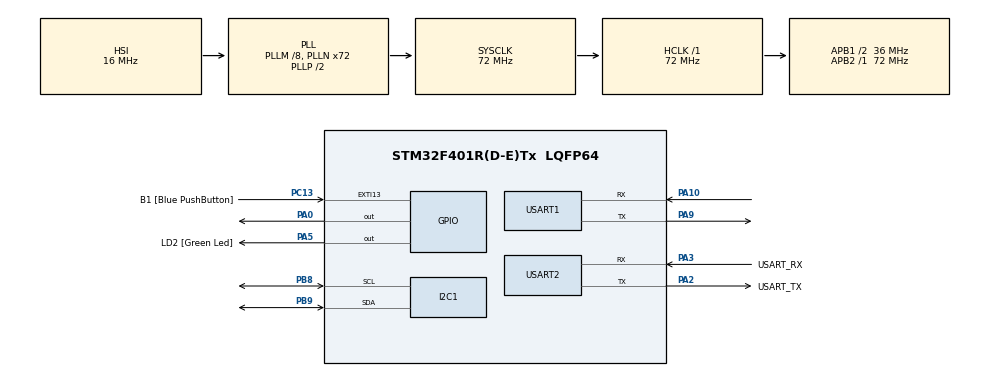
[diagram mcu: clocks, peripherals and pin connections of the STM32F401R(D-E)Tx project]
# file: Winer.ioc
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Mcu.Family=STM32F4
Mcu.Name=STM32F401R(D-E)Tx
Mcu.Package=LQFP64
NVIC.PriorityGroup=NVIC_PRIORITYGROUP_0
PA0-WKUP.GPIO_PuPd=GPIO_PULLUP
PA0-WKUP.Signal=GPIO_Output
PA10.Mode=Asynchronous
PA10.Signal=USART1_RX
PA13.GPIO_Label=TMS
PA13.Mode=Serial_Wire
PA13.Signal=SYS_JTMS-SWDIO
PA14.GPIO_Label=TCK
PA14.Mode=Serial_Wire
PA14.Signal=SYS_JTCK-SWCLK
PA2.GPIO_Label=USART_TX
PA2.GPIO_Mode=GPIO_MODE_AF_PP
PA2.GPIO_PuPd=GPIO_NOPULL
PA2.GPIO_Speed=GPIO_SPEED_FREQ_LOW
PA2.Mode=Asynchronous
PA2.Signal=USART2_TX
PA3.GPIO_Label=USART_RX
PA3.GPIO_Mode=GPIO_MODE_AF_PP
PA3.GPIO_PuPd=GPIO_NOPULL
PA3.GPIO_Speed=GPIO_SPEED_FREQ_LOW
PA3.Mode=Asynchronous
PA3.Signal=USART2_RX
PA5.GPIO_Label=LD2 [Green Led]
PA5.GPIO_Mode=GPIO_MODE_OUTPUT_PP
PA5.GPIO_PuPd=GPIO_NOPULL
PA5.GPIO_Speed=GPIO_SPEED_FREQ_LOW
PA5.Signal=GPIO_Output
PA9.Mode=Asynchronous
PA9.Signal=USART1_TX
PB3.GPIO_Label=SWO
PB3.Signal=SYS_JTDO-SWO
PB8.GPIO_Pu=GPIO_PULLUP
PB8.Mode=I2C
PB8.Signal=I2C1_SCL
PB9.GPIO_Pu=GPIO_PULLUP
PB9.Mode=I2C
PB9.Signal=I2C1_SDA
PC13-ANTI_TAMP.GPIO_Label=B1 [Blue PushButton]
PC13-ANTI_TAMP.GPIO_ModeDefaultEXTI=GPIO_MODE_IT_FALLING
PC13-ANTI_TAMP.GPIO_PuPd=GPIO_NOPULL
PC13-ANTI_TAMP.Signal=GPXTI13
PC14-OSC32_IN.Mode=LSE-External-Oscillator
PC14-OSC32_IN.Signal=RCC_OSC32_IN
PC15-OSC32_OUT.Mode=LSE-External-Oscillator
PC15-OSC32_OUT.Signal=RCC_OSC32_OUT
PH0\ -\ OSC_IN.Mode=HSE-External-Clock-Source
PH0\ -\ OSC_IN.Signal=RCC_OSC_IN
PH1\ -\ OSC_OUT.Mode=HSE-External-Clock-Source
PH1\ -\ OSC_OUT.Signal=RCC_OSC_OUT
ProjectManager.HeapSize=0x200
ProjectManager.StackSize=0x400
ProjectManager.TargetToolchain=STM32CubeIDE
RCC.48MHZClocksFreq_Value=20571428.57142857
RCC.AHBFreq_Value=72000000
RCC.APB1CLKDivider=RCC_HCLK_DIV2
RCC.APB1Freq_Value=36000000
RCC.APB1TimFreq_Value=72000000
RCC.APB2Freq_Value=72000000
RCC.APB2TimFreq_Value=72000000
RCC.CortexFreq_Value=72000000
RCC.HCLKFreq_Value=72000000
RCC.HSE_VALUE=8000000
RCC.HSI_VALUE=16000000
RCC.PLLM=8
RCC.PLLN=72
RCC.PLLQ=7
RCC.SYSCLKFreq_VALUE=72000000
RCC.SYSCLKSource=RCC_SYSCLKSOURCE_PLLCLK
RCC.VCOOutputFreq_Value=144000000
TIM1.Prescaler=72-1
USART1.VirtualMode=VM_ASYNC
USART2.VirtualMode=VM_ASYNC
VP_TIM1_VS_ClockSourceINT.Mode=Internal
board=NUCLEO-F401RE

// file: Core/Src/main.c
/* USER CODE BEGIN Header */
/**
  ******************************************************************************
  * @file           : main.c
  * @brief          : Main program body
  ******************************************************************************
  * @attention
  *
  * Copyright (c) 2023 STMicroelectronics.
  * All rights reserved.
  *
  * This software is licensed under terms that can be found in the LICENSE file
  * in the root directory of this software component.
  * If no LICENSE file comes with this software, it is provided AS-IS.
  *
  ******************************************************************************
  */
/* USER CODE END Header */
#include "main.h"

/* USER CODE BEGIN Includes */
#include <string.h>
#include "stm32f4xx_hal.h"
#include <stdio.h>
#include <math.h>
/* USER CODE END Includes */

/* USER CODE BEGIN PD */
// Indirizzo I2C del sensore ISL29125
// Indirizzo I2C del sensore ISL29125
#define ISL29125_ADDR 0x44

// Indirizzi dei registri di interesse (ad es. potresti aver bisogno di altri registri in base alle tue necessità)
#define DEVICE_ID_REG 0x00
#define GREEN_DATA_REG_LOW_BYTE 0X09
#define GREEN_DATA_REG_HIGH_BYTE 0X0A
#define RED_DATA_REG_LOW_BYTE 0X0B
#define RED_DATA_REG_HIGH_BYTE 0X0C
#define BLUE_DATA_REG_LOW_BYTE 0X0D
#define BLUE_DATA_REG_HIGH_BYTE 0X0E
#define CONFIG1_REG 0x01
#define SENSOR1_PIN GPIO_PIN_0
#define SENSOR2_PIN GPIO_PIN_1
/* USER CODE END PD */

I2C_HandleTypeDef hi2c1;

TIM_HandleTypeDef htim1;

UART_HandleTypeDef huart1;
UART_HandleTypeDef huart2;

/* USER CODE BEGIN PV */

typedef enum {
    MODE_FULL,
    MODE_HB
} ReadMode;

char THINGSPEAK_API_KEY[] = "TRZOK7CVA05TTGZR";
uint8_t Temp_byte1_1, Temp_byte2_1, Temp_byte1_2, Temp_byte2_2;
uint8_t Presence1, Presence2;
/* USER CODE END PV */

void SystemClock_Config(void);
static void MX_GPIO_Init(void);
static void MX_USART2_UART_Init(void);
static void MX_I2C1_Init(void);
static void MX_TIM1_Init(void);
static void MX_USART1_UART_Init(void);
/* USER CODE BEGIN PFP */

//DS18B20
uint8_t DS18B20_Read(GPIO_TypeDef* GPIOx, uint16_t GPIO_Pin);
void DS18B20_Write(GPIO_TypeDef* GPIOx, uint16_t GPIO_Pin, uint8_t data);
uint8_t DS18B20_Start(GPIO_TypeDef* GPIOx, uint16_t GPIO_Pin);
void delay(uint32_t);
void Set_Input(GPIO_TypeDef* GPIOx, uint16_t GPIO_Pin);
void Set_Output(GPIO_TypeDef* GPIOx, uint16_t GPIO_Pin);
double ds18b20_convert(uint8_t lsb, uint8_t msb);
double computeValue(uint8_t lsb, uint8_t msb);
double DS18B20_ReadTemperature(GPIO_TypeDef* GPIOx, uint16_t SENSOR_PIN);

//ISL29125
void configureISL29125();
uint8_t readISL29125Register(uint8_t reg);
void readISL29125Colors(uint8_t* red, uint8_t* green, uint8_t* blue, ReadMode mode);

//ESP8266
void sendCommandAndPrintResponse(UART_HandleTypeDef *huart, const char *command, UART_HandleTypeDef *response_uart, uint32_t delay_time);
void sendDataToThingSpeak(UART_HandleTypeDef *huart, int data1, int data2, int data3, int data4, int data5, uint32_t delay_time);

/* USER CODE END PFP */

int main(void)
{

  /* MCU Configuration--------------------------------------------------------*/

  /* Reset of all peripherals, Initializes the Flash interface and the Systick. */
  HAL_Init();

  /* Configure the system clock */
  SystemClock_Config();

  /* Initialize all configured peripherals */
  MX_GPIO_Init();
  MX_USART2_UART_Init();
  MX_I2C1_Init();
  MX_TIM1_Init();
  MX_USART1_UART_Init();

  /* USER CODE BEGIN 2 */
  HAL_TIM_Base_Start(&htim1);
  configureISL29125();

  uint32_t delay_time=2*1000;

  //Controllo corretto funzionamento
  sendCommandAndPrintResponse(&huart1, "AT\r\n", &huart2,delay_time);

   // Imposta l'ESP8266 in modalità station
  sendCommandAndPrintResponse(&huart1, "AT+CWMODE=1\r\n", &huart2, delay_time);

   // Connettiti alla rete WiFi
   sendCommandAndPrintResponse(&huart1, "AT+CWJAP=\"A\",\"\"\r\n", &huart2, delay_time);
   HAL_Delay(8000);

  /* USER CODE END 2 */

  /* Infinite loop */
  while (1)
  {

    /* USER CODE BEGIN 3 */

	 double temperatura1 = DS18B20_ReadTemperature(GPIOA, SENSOR1_PIN);

	 double temperatura1 = DS18B20_ReadTemperature(GPIOA, SENSOR2_PIN);

	 uint8_t red, green, blue;
	 readISL29125Colors(&red, &green, &blue, MODE_FULL);  // Per la modalità completa

	 sendDataToThingSpeak(&huart1, temperatura1, temperatura2, red, green, blue, delay_time);

  }
  /* USER CODE END 3 */
}

void SystemClock_Config(void)
{
  RCC_OscInitTypeDef RCC_OscInitStruct = {0};
  RCC_ClkInitTypeDef RCC_ClkInitStruct = {0};

  /** Configure the main internal regulator output voltage
  */
  __HAL_RCC_PWR_CLK_ENABLE();
  __HAL_PWR_VOLTAGESCALING_CONFIG(PWR_REGULATOR_VOLTAGE_SCALE2);

  /** Initializes the RCC Oscillators according to the specified parameters
  * in the RCC_OscInitTypeDef structure.
  */
  RCC_OscInitStruct.OscillatorType = RCC_OSCILLATORTYPE_HSI;
  RCC_OscInitStruct.HSIState = RCC_HSI_ON;
  RCC_OscInitStruct.HSICalibrationValue = RCC_HSICALIBRATION_DEFAULT;
  RCC_OscInitStruct.PLL.PLLState = RCC_PLL_ON;
  RCC_OscInitStruct.PLL.PLLSource = RCC_PLLSOURCE_HSI;
  RCC_OscInitStruct.PLL.PLLM = 8;
  RCC_OscInitStruct.PLL.PLLN = 72;
  RCC_OscInitStruct.PLL.PLLP = RCC_PLLP_DIV2;
  RCC_OscInitStruct.PLL.PLLQ = 7;
  if (HAL_RCC_OscConfig(&RCC_OscInitStruct) != HAL_OK)
  {
    Error_Handler();
  }

  /** Initializes the CPU, AHB and APB buses clocks
  */
  RCC_ClkInitStruct.ClockType = RCC_CLOCKTYPE_HCLK|RCC_CLOCKTYPE_SYSCLK
                              |RCC_CLOCKTYPE_PCLK1|RCC_CLOCKTYPE_PCLK2;
  RCC_ClkInitStruct.SYSCLKSource = RCC_SYSCLKSOURCE_PLLCLK;
  RCC_ClkInitStruct.AHBCLKDivider = RCC_SYSCLK_DIV1;
  RCC_ClkInitStruct.APB1CLKDivider = RCC_HCLK_DIV2;
  RCC_ClkInitStruct.APB2CLKDivider = RCC_HCLK_DIV1;

  if (HAL_RCC_ClockConfig(&RCC_ClkInitStruct, FLASH_LATENCY_2) != HAL_OK)
  {
    Error_Handler();
  }
}

static void MX_I2C1_Init(void)
{

  hi2c1.Instance = I2C1;
  hi2c1.Init.ClockSpeed = 100000;
  hi2c1.Init.DutyCycle = I2C_DUTYCYCLE_2;
  hi2c1.Init.OwnAddress1 = 0;
  hi2c1.Init.AddressingMode = I2C_ADDRESSINGMODE_7BIT;
  hi2c1.Init.DualAddressMode = I2C_DUALADDRESS_DISABLE;
  hi2c1.Init.OwnAddress2 = 0;
  hi2c1.Init.GeneralCallMode = I2C_GENERALCALL_DISABLE;
  hi2c1.Init.NoStretchMode = I2C_NOSTRETCH_DISABLE;
  if (HAL_I2C_Init(&hi2c1) != HAL_OK)
  {
    Error_Handler();
  }

}

static void MX_TIM1_Init(void)
{

  TIM_ClockConfigTypeDef sClockSourceConfig = {0};
  TIM_MasterConfigTypeDef sMasterConfig = {0};

  htim1.Instance = TIM1;
  htim1.Init.Prescaler = 72-1;
  htim1.Init.CounterMode = TIM_COUNTERMODE_UP;
  htim1.Init.Period = 65535;
  htim1.Init.ClockDivision = TIM_CLOCKDIVISION_DIV1;
  htim1.Init.RepetitionCounter = 0;
  htim1.Init.AutoReloadPreload = TIM_AUTORELOAD_PRELOAD_DISABLE;
  if (HAL_TIM_Base_Init(&htim1) != HAL_OK)
  {
    Error_Handler();
  }
  sClockSourceConfig.ClockSource = TIM_CLOCKSOURCE_INTERNAL;
  if (HAL_TIM_ConfigClockSource(&htim1, &sClockSourceConfig) != HAL_OK)
  {
    Error_Handler();
  }
  sMasterConfig.MasterOutputTrigger = TIM_TRGO_RESET;
  sMasterConfig.MasterSlaveMode = TIM_MASTERSLAVEMODE_DISABLE;
  if (HAL_TIMEx_MasterConfigSynchronization(&htim1, &sMasterConfig) != HAL_OK)
  {
    Error_Handler();
  }

}

static void MX_USART1_UART_Init(void)
{

  huart1.Instance = USART1;
  huart1.Init.BaudRate = 115200;
  huart1.Init.WordLength = UART_WORDLENGTH_8B;
  huart1.Init.StopBits = UART_STOPBITS_1;
  huart1.Init.Parity = UART_PARITY_NONE;
  huart1.Init.Mode = UART_MODE_TX_RX;
  huart1.Init.HwFlowCtl = UART_HWCONTROL_NONE;
  huart1.Init.OverSampling = UART_OVERSAMPLING_16;
  if (HAL_UART_Init(&huart1) != HAL_OK)
  {
    Error_Handler();
  }

}

static void MX_USART2_UART_Init(void)
{

  huart2.Instance = USART2;
  huart2.Init.BaudRate = 115200;
  huart2.Init.WordLength = UART_WORDLENGTH_8B;
  huart2.Init.StopBits = UART_STOPBITS_1;
  huart2.Init.Parity = UART_PARITY_NONE;
  huart2.Init.Mode = UART_MODE_TX_RX;
  huart2.Init.HwFlowCtl = UART_HWCONTROL_NONE;
  huart2.Init.OverSampling = UART_OVERSAMPLING_16;
  if (HAL_UART_Init(&huart2) != HAL_OK)
  {
    Error_Handler();
  }

}

static void MX_GPIO_Init(void)
{
  GPIO_InitTypeDef GPIO_InitStruct = {0};

  /* GPIO Ports Clock Enable */
  __HAL_RCC_GPIOC_CLK_ENABLE();
  __HAL_RCC_GPIOH_CLK_ENABLE();
  __HAL_RCC_GPIOA_CLK_ENABLE();
  __HAL_RCC_GPIOB_CLK_ENABLE();

  /*Configure GPIO pin Output Level */
  HAL_GPIO_WritePin(GPIOA, GPIO_PIN_0|LD2_Pin, GPIO_PIN_RESET);

  /*Configure GPIO pin : B1_Pin */
  GPIO_InitStruct.Pin = B1_Pin;
  GPIO_InitStruct.Mode = GPIO_MODE_IT_FALLING;
  GPIO_InitStruct.Pull = GPIO_NOPULL;
  HAL_GPIO_Init(B1_GPIO_Port, &GPIO_InitStruct);

  /*Configure GPIO pin : PA0 */
  GPIO_InitStruct.Pin = GPIO_PIN_0;
  GPIO_InitStruct.Mode = GPIO_MODE_OUTPUT_PP;
  GPIO_InitStruct.Pull = GPIO_PULLUP;
  GPIO_InitStruct.Speed = GPIO_SPEED_FREQ_LOW;
  HAL_GPIO_Init(GPIOA, &GPIO_InitStruct);

  /*Configure GPIO pin : LD2_Pin */
  GPIO_InitStruct.Pin = LD2_Pin;
  GPIO_InitStruct.Mode = GPIO_MODE_OUTPUT_PP;
  GPIO_InitStruct.Pull = GPIO_NOPULL;
  GPIO_InitStruct.Speed = GPIO_SPEED_FREQ_LOW;
  HAL_GPIO_Init(LD2_GPIO_Port, &GPIO_InitStruct);

}

/* USER CODE BEGIN 4 */
// Funzione per stampare un messaggio sul UART specificato
void printToUART(UART_HandleTypeDef *uart, const char *message) {
    HAL_UART_Transmit(uart, (uint8_t*)message, strlen(message), HAL_MAX_DELAY);
}
uint8_t readISL29125Register(uint8_t reg) {
    uint8_t value;
    HAL_I2C_Mem_Read(&hi2c1, ISL29125_ADDR << 1, reg, I2C_MEMADD_SIZE_8BIT, &value, 1, HAL_MAX_DELAY);
    return value;
}
void configureISL29125() {
    uint8_t configValue = 0b00000101;
    HAL_I2C_Mem_Write(&hi2c1, ISL29125_ADDR << 1, CONFIG1_REG, I2C_MEMADD_SIZE_8BIT, &configValue, 1, HAL_MAX_DELAY);
}

void readISL29125Colors(uint8_t* red, uint8_t* green, uint8_t* blue, ReadMode mode) {
    uint16_t redValue, greenValue, blueValue;

    if(mode == MODE_FULL) {
        uint8_t redLB = readISL29125Register(RED_DATA_REG_LOW_BYTE);
        uint8_t redHB = readISL29125Register(RED_DATA_REG_HIGH_BYTE);
        redValue = (redHB << 8) | redLB;

        uint8_t greenLB = readISL29125Register(GREEN_DATA_REG_LOW_BYTE);
        uint8_t greenHB = readISL29125Register(GREEN_DATA_REG_HIGH_BYTE);
        greenValue = (greenHB << 8) | greenLB;

        uint8_t blueLB = readISL29125Register(BLUE_DATA_REG_LOW_BYTE);
        uint8_t blueHB = readISL29125Register(BLUE_DATA_REG_HIGH_BYTE);
        blueValue = (blueHB << 8) | blueLB;
    } else if(mode == MODE_HB) {
        redValue = readISL29125Register(RED_DATA_REG_HIGH_BYTE) << 8;
        greenValue = readISL29125Register(GREEN_DATA_REG_HIGH_BYTE) << 8;
        blueValue = readISL29125Register(BLUE_DATA_REG_HIGH_BYTE) << 8;
    }

    *red = redValue * 255 / 65535;
    *green = greenValue * 255 / 65535;
    *blue = blueValue * 255 / 65535;
}

double DS18B20_ReadTemperature(GPIO_TypeDef* GPIOx, uint16_t SENSOR_PIN) {
    // Inizia la comunicazione con il DS18B20
    uint8_t Presence = DS18B20_Start(GPIOx, SENSOR_PIN);
    HAL_Delay(1);  // Piccola pausa per assicurarsi che il DS18B20 sia pronto

    // Manda il comando "Skip ROM", che dice al DS18B20 di saltare il controllo dell'indirizzo (ROM)
    DS18B20_Write(GPIOx, SENSOR_PIN, 0xCC);

    // Manda il comando per iniziare la conversione della temperatura
    DS18B20_Write(GPIOx, SENSOR_PIN, 0x44);

    // Aspetta che la conversione della temperatura sia completata.
    // Il DS18B20 impiega fino a 750ms per effettuare una conversione
    HAL_Delay(800);

    // Ri-inizia la comunicazione con il DS18B20
    Presence = DS18B20_Start(GPIOx, SENSOR_PIN);
    HAL_Delay(1);  // Piccola pausa per assicurarsi che il DS18B20 sia pronto

    // Manda di nuovo il comando "Skip ROM"
    DS18B20_Write(GPIOx, SENSOR_PIN, 0xCC);

    // Manda il comando per leggere lo scratchpad, dove il DS18B20 conserva i dati della temperatura appena convertita
    DS18B20_Write(GPIOx, SENSOR_PIN, 0xBE);

    // Legge i due byte che rappresentano la temperatura.
    uint8_t Temp_byte1 = DS18B20_Read(GPIOx, SENSOR_PIN);
    uint8_t Temp_byte2 = DS18B20_Read(GPIOx, SENSOR_PIN);

    // Converte i due byte letti in un valore di temperatura comprensibile e lo restituisce
    return computeValue(Temp_byte1, Temp_byte2);
}

void sendCommandAndPrintResponse(UART_HandleTypeDef *huart, const char *command, UART_HandleTypeDef *response_uart, uint32_t delay_time) {

    uint8_t esp_buffer[100];
    char str_buffer[100]; // Buffer per la formattazione della risposta

    // Invia comando all'ESP8266
    HAL_UART_Transmit(huart, (uint8_t *)command, strlen(command), delay_time);

    // Inizializza esp_buffer con zeri
    memset(esp_buffer, 0, sizeof(esp_buffer));

    // Aspetta e ricevi la risposta dall'ESP8266
    HAL_StatusTypeDef status = HAL_UART_Receive(huart, esp_buffer, sizeof(esp_buffer) - 1, delay_time);

    // Verifica lo stato della ricezione
    if (status == HAL_OK || (status == HAL_TIMEOUT && strlen(esp_buffer) > 0)) {
    	HAL_Delay (delay_time);
        // Formatta la risposta ricevuta
        sprintf(str_buffer, "Risposta a %s: %s\r\n",command, esp_buffer);
        // Stampa la risposta usando la funzione appena creata
        printToUART(response_uart, str_buffer);
    } else {
        char error_msg[] = "Nessuna risposta dall'ESP8266\r\n";
        printToUART(response_uart, error_msg);
    }
	  HAL_Delay (delay_time);
}
void sendDataToThingSpeak(UART_HandleTypeDef *huart, int data1, int data2, int data3, int data4, int data5, uint32_t delay_time) {
    // Connessione TCP a ThingSpeak
    sendCommandAndPrintResponse(huart, "AT+CIPSTART=\"TCP\",\"api.thingspeak.com\",80\r\n", &huart2, delay_time);

    // Preparazione della richiesta GET
    char get_request[256];
    sprintf(get_request, "GET /update?api_key=%s&field1=%d&field2=%d&field3=%d&field4=%d&field5=%d\r\n",
            THINGSPEAK_API_KEY, data1, data2, data3, data4, data5);

    char length_cmd[50];
    sprintf(length_cmd, "AT+CIPSEND=%d\r\n", strlen(get_request));

    sendCommandAndPrintResponse(huart, length_cmd, &huart2, delay_time);
    sendCommandAndPrintResponse(huart, get_request, &huart2, delay_time);
    // La connessione TCP non viene chiusa in questa funzione, come richiesto
}

double computeValue(uint8_t lsb, uint8_t msb) {
    double result = 0.0;

    // Gestione dei primi 8 bit dell'LSB
    for (int i = 0; i < 8 && i < 11; ++i) {
        if (lsb & (1 << i)) {
            result += pow(2, i - 4);
        }
    }

    // Gestione dei bit restanti dell'MSB
    int remaining_bits = 11 - 8;
    for (int i = 0; i < remaining_bits; ++i) {
        if (msb & (1 << i)) {
            result += pow(2, i + 4);
        }
    }

    return result;
}

uint8_t DS18B20_Read(GPIO_TypeDef* GPIOx, uint16_t GPIO_Pin)
{
    uint8_t value = 0;
    Set_Input(GPIOx, GPIO_Pin);

    for (int i = 0; i < 8; i++)
    {
        Set_Output(GPIOx, GPIO_Pin); // set as output

        HAL_GPIO_WritePin(GPIOx, GPIO_Pin, 0); // pull the data pin LOW
        delay(2); // wait for 2 us

        Set_Input(GPIOx, GPIO_Pin); // set as input
        if (HAL_GPIO_ReadPin(GPIOx, GPIO_Pin)) // if the pin is HIGH
        {
            value |= 1 << i; // read = 1
        }
        delay(60); // wait for 60 us
    }
    return value;
}

void DS18B20_Write(GPIO_TypeDef* GPIOx, uint16_t GPIO_Pin, uint8_t data)
{
    Set_Output(GPIOx, GPIO_Pin); // set as output

    for (int i = 0; i < 8; i++)
    {
        if ((data & (1 << i)) != 0) // if the bit is high
        {
            Set_Output(GPIOx, GPIO_Pin); // set as output
            HAL_GPIO_WritePin(GPIOx, GPIO_Pin, 0); // pull the pin LOW
            delay(1); // wait for 1 us

            Set_Input(GPIOx, GPIO_Pin); // set as input
            delay(50); // wait for 60 us
        }
        else // if the bit is low
        {
            Set_Output(GPIOx, GPIO_Pin);
            HAL_GPIO_WritePin(GPIOx, GPIO_Pin, 0); // pull the pin LOW
            delay(50); // wait for 50 us

            Set_Input(GPIOx, GPIO_Pin);
        }
    }
}

uint8_t DS18B20_Start(GPIO_TypeDef* GPIOx, uint16_t GPIO_Pin)
{
    uint8_t Response = 0;
    Set_Output(GPIOx, GPIO_Pin); // set the pin as output
    HAL_GPIO_WritePin(GPIOx, GPIO_Pin, 0); // pull the pin low
    delay(480); // delay according to datasheet

    Set_Input(GPIOx, GPIO_Pin); // set the pin as input
    delay(80); // delay according to datasheet
    if (!(HAL_GPIO_ReadPin(GPIOx, GPIO_Pin))) Response = 1; // if the pin is low i.e the presence pulse is detected
    else Response = -1;

    delay(400); // 480 us delay totally.
    return Response;
}

void Set_Input(GPIO_TypeDef* GPIOx, uint16_t GPIO_Pin)
{
    GPIO_InitTypeDef GPIO_InitStruct = {0};

    GPIO_InitStruct.Pin = GPIO_Pin;
    GPIO_InitStruct.Mode = GPIO_MODE_INPUT;
    GPIO_InitStruct.Pull = GPIO_PULLUP;
    GPIO_InitStruct.Speed = GPIO_SPEED_FREQ_LOW;
    HAL_GPIO_Init(GPIOx, &GPIO_InitStruct);
}

void Set_Output(GPIO_TypeDef* GPIOx, uint16_t GPIO_Pin)
{
    GPIO_InitTypeDef GPIO_InitStruct = {0};

    GPIO_InitStruct.Pin = GPIO_Pin;
    GPIO_InitStruct.Mode = GPIO_MODE_OUTPUT_PP;
    GPIO_InitStruct.Pull = GPIO_PULLUP;
    GPIO_InitStruct.Speed = GPIO_SPEED_FREQ_LOW;
    HAL_GPIO_Init(GPIOx, &GPIO_InitStruct);
}

void delay(uint32_t us)
{
	__HAL_TIM_SET_COUNTER(&htim1,0);  // set the counter value a 0
	while (__HAL_TIM_GET_COUNTER(&htim1) < us);  // wait for the counter to reach the us input in the parameter
}
/* USER CODE END 4 */

void Error_Handler(void)
{
  __disable_irq();
  while (1)
  {
  }
}
